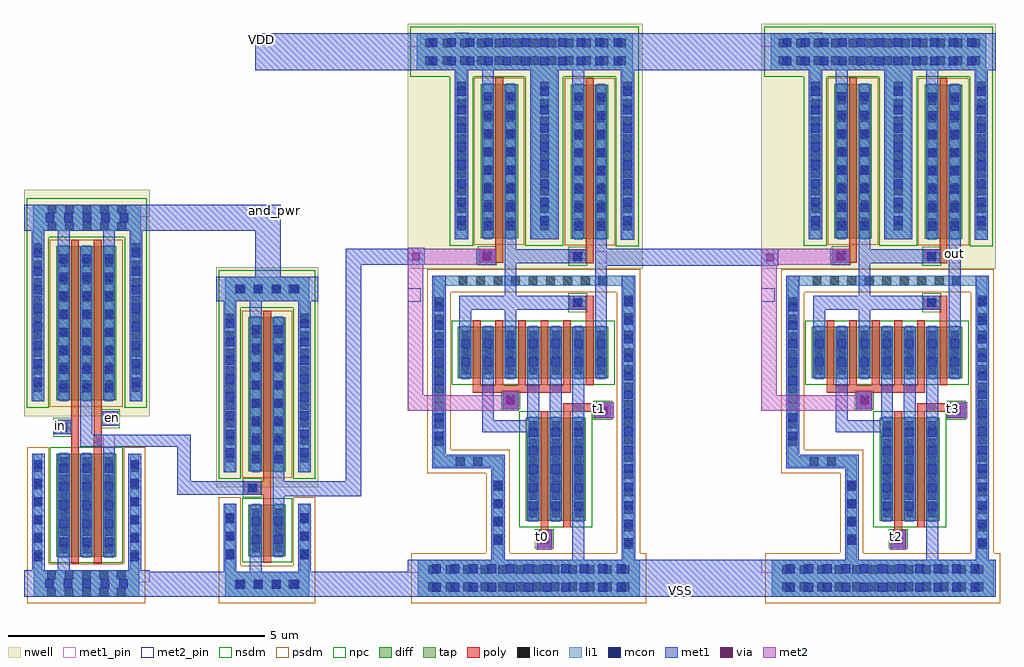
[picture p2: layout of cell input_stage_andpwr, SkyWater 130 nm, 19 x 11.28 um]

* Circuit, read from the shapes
.subckt input_stage_andpwr VDD VSS and_pwr en in out t0 t1 t2 t3
XM1 n1 in VSS VSS sky130_fd_pr__nfet_01v8 w=2 l=0.15
XM2 nand_gate_0/out en n1 VSS sky130_fd_pr__nfet_01v8 w=2 l=0.15
XM3 fine_delay_unit_3/in nand_gate_0/out VSS VSS sky130_fd_pr__nfet_01v8 w=1 l=0.15
XM4 n2 fine_delay_unit_3/in n3 VSS sky130_fd_pr__nfet_01v8 w=1 l=0.15 m=3
XM5 n4 t0 n2 VSS sky130_fd_pr__nfet_01v8 w=2 l=0.15
XM6 n4 fine_delay_unit_3/in n2 VSS sky130_fd_pr__nfet_01v8 w=1 l=0.15
XM7 VSS t1 n4 VSS sky130_fd_pr__nfet_01v8 w=2 l=0.15
XM8 VSS fine_delay_unit_3/in n4 VSS sky130_fd_pr__nfet_01v8 w=1 l=0.15
XM9 fine_delay_unit_2/in n3 VSS VSS sky130_fd_pr__nfet_01v8 w=1 l=0.15
XM10 n5 fine_delay_unit_2/in n6 VSS sky130_fd_pr__nfet_01v8 w=1 l=0.15 m=3
XM11 n7 t2 n5 VSS sky130_fd_pr__nfet_01v8 w=2 l=0.15
XM12 n7 fine_delay_unit_2/in n5 VSS sky130_fd_pr__nfet_01v8 w=1 l=0.15
XM13 VSS t3 n7 VSS sky130_fd_pr__nfet_01v8 w=2 l=0.15
XM14 VSS fine_delay_unit_2/in n7 VSS sky130_fd_pr__nfet_01v8 w=1 l=0.15
XM15 out n6 VSS VSS sky130_fd_pr__nfet_01v8 w=1 l=0.15
XM16 nand_gate_0/out in and_pwr and_pwr sky130_fd_pr__pfet_01v8 w=3 l=0.15
XM17 and_pwr en nand_gate_0/out and_pwr sky130_fd_pr__pfet_01v8 w=3 l=0.15
XM18 fine_delay_unit_3/in nand_gate_0/out and_pwr and_pwr sky130_fd_pr__pfet_01v8 w=3 l=0.15
XM19 n3 fine_delay_unit_3/in VDD VDD sky130_fd_pr__pfet_01v8 w=3 l=0.15
XM20 fine_delay_unit_2/in n3 VDD VDD sky130_fd_pr__pfet_01v8 w=3 l=0.15
XM21 n6 fine_delay_unit_2/in VDD VDD sky130_fd_pr__pfet_01v8 w=3 l=0.15
XM22 out n6 VDD VDD sky130_fd_pr__pfet_01v8 w=3 l=0.15
.ends

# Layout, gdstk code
from math import pi, radians
import gdstk
lib = gdstk.Library(unit=1e-6, precision=1e-09)
def R(c, l, rs):  # rectangles x0, y0, x1, y1
    for r in rs: c.add(gdstk.rectangle(r[:2], r[2:], *l))
def A(c, l, x, y, w, h, nx, ny, dx, dy):  # array of equal rectangles
    R(c, l, [(x+i*dx, y+j*dy, x+i*dx+w, y+j*dy+h) for i in range(nx) for j in range(ny)])
nwell = (64, 20)
diff = (65, 20)
tap = (65, 44)
poly = (66, 20)
licon = (66, 44)
li1 = (67, 20)
mcon = (67, 44)
met1_pin = (68, 16)
met1 = (68, 20)
via = (68, 44)
met2_pin = (69, 16)
met2 = (69, 20)
nsdm = (93, 44)
psdm = (94, 20)
npc = (95, 20)

sky130_fd_pr__pfet_01v8_ = lib.new_cell('sky130_fd_pr__pfet_01v8_2K9SAN')
R(sky130_fd_pr__pfet_01v8_, nwell, [(-0.545,-1.81,0.545,1.81)])
R(sky130_fd_pr__pfet_01v8_, diff, [(-0.365,-1.5,0.365,1.5)])
R(sky130_fd_pr__pfet_01v8_, poly, [(-0.075,-1.63,0.075,1.63)])
A(sky130_fd_pr__pfet_01v8_, licon, -0.305, -1.275, 0.17, 0.17, 1, 8, 0, 0.34)
A(sky130_fd_pr__pfet_01v8_, licon, 0.135, -1.275, 0.17, 0.17, 1, 8, 0, 0.34)
R(sky130_fd_pr__pfet_01v8_, li1, [(-0.305,-1.52,-0.135,1.52), (0.135,-1.52,0.305,1.52)])
A(sky130_fd_pr__pfet_01v8_, mcon, -0.305, -1.345, 0.17, 0.17, 1, 8, 0, 0.36)
A(sky130_fd_pr__pfet_01v8_, mcon, 0.135, -1.345, 0.17, 0.17, 1, 8, 0, 0.36)
R(sky130_fd_pr__pfet_01v8_, met1, [(-0.335,-1.5,-0.105,1.5), (0.105,-1.5,0.335,1.5)])
R(sky130_fd_pr__pfet_01v8_, psdm, [(-0.49,-1.625,0.49,1.625)])

sky130_fd_pr__nfet_01v8_ = lib.new_cell('sky130_fd_pr__nfet_01v8_TC9PQS')
R(sky130_fd_pr__nfet_01v8_, diff, [(-0.365,-1,0.365,1)])
R(sky130_fd_pr__nfet_01v8_, poly, [(-0.075,-1.13,0.075,1.13)])
A(sky130_fd_pr__nfet_01v8_, licon, -0.305, -0.935, 0.17, 0.17, 1, 6, 0, 0.34)
A(sky130_fd_pr__nfet_01v8_, licon, 0.135, -0.935, 0.17, 0.17, 1, 6, 0, 0.34)
R(sky130_fd_pr__nfet_01v8_, li1, [(-0.305,-1.02,-0.135,1.02), (0.135,-1.02,0.305,1.02)])
A(sky130_fd_pr__nfet_01v8_, mcon, -0.305, -0.805, 0.17, 0.17, 1, 5, 0, 0.36)
A(sky130_fd_pr__nfet_01v8_, mcon, 0.135, -0.805, 0.17, 0.17, 1, 5, 0, 0.36)
R(sky130_fd_pr__nfet_01v8_, met1, [(-0.335,-1,-0.105,1), (0.105,-1,0.335,1)])
R(sky130_fd_pr__nfet_01v8_, nsdm, [(-0.49,-1.125,0.49,1.125)])

nand_gate = lib.new_cell('nand_gate')
R(nand_gate, nwell, [(-0.47,0,0,3.51), (1.53,0,1.98,0.16), (1.23,0.16,1.98,0.29), (1.53,0.29,1.98,3.51), (-0.47,3.51,1.98,4.41)])
R(nand_gate, tap, [(-0.26,-3.51,1.79,-3), (-0.26,-3,-0.09,-0.73), (1.62,-3,1.79,-0.73), (-0.29,0.29,-0.11,3.61), (1.62,0.29,1.8,3.61), (-0.29,3.61,1.8,4.12)])
R(nand_gate, poly, [(0.47,-0.6,0.62,-0.18), (0.91,-0.6,1.06,-0.35), (0.91,-0.35,1.39,-0.07), (0.14,-0.18,0.62,0.1), (0.91,-0.07,1.06,0.18), (0.47,0.1,0.62,0.18)])
A(nand_gate, licon, 0, -3.51, 0.17, 0.17, 5, 2, 0.34, 0.34)
A(nand_gate, licon, -0.26, -2.775, 0.17, 0.17, 1, 6, 0, 0.34)
A(nand_gate, licon, 1.62, -2.775, 0.17, 0.17, 1, 6, 0, 0.34)
A(nand_gate, licon, -0.285, 0.48, 0.17, 0.17, 1, 9, 0, 0.34)
A(nand_gate, licon, 1.625, 0.48, 0.17, 0.17, 1, 9, 0, 0.34)
A(nand_gate, licon, -0.01, 3.61, 0.17, 0.17, 5, 2, 0.34, 0.34)
R(nand_gate, licon, [(1.14,-0.3,1.31,-0.13), (0.22,-0.13,0.39,0.04)])
R(nand_gate, li1, [(-0.26,-3.51,1.79,-3), (-0.26,-3,-0.09,-0.73), (1.62,-3,1.79,-0.73), (1.06,-0.35,1.39,-0.07), (0.14,-0.18,0.47,0.1), (-0.29,0.29,-0.11,3.61), (1.62,0.29,1.8,3.61), (-0.29,3.61,1.8,4.12)])
A(nand_gate, mcon, -0.04, -3.34, 0.17, 0.17, 5, 1, 0.36, 0)
A(nand_gate, mcon, -0.26, -2.825, 0.17, 0.17, 1, 6, 0, 0.36)
A(nand_gate, mcon, 1.62, -2.825, 0.17, 0.17, 1, 6, 0, 0.36)
A(nand_gate, mcon, -0.285, 0.58, 0.17, 0.17, 1, 8, 0, 0.36)
A(nand_gate, mcon, 1.625, 0.58, 0.17, 0.17, 1, 8, 0, 0.36)
A(nand_gate, mcon, -0.05, 3.78, 0.17, 0.17, 5, 1, 0.36, 0)
R(nand_gate, mcon, [(1.14,-0.3,1.31,-0.13), (0.22,-0.13,0.39,0.04)])
R(nand_gate, met1_pin, [(-0.47,-3.23,-0.24,-3), (0.21,-0.59,0.44,-0.36), (1.16,-0.3,1.39,-0.07), (0.14,-0.13,0.37,0.1), (-0.47,3.89,-0.24,4.12)])
R(nand_gate, met1, [(-0.47,-3.51,1.98,-3), (-0.3,-3,-0.05,-0.73), (1.09,-3,1.32,-2.73), (1.58,-3,1.82,-0.73), (0.21,-0.73,0.44,-0.59), (0.21,-0.59,0.88,-0.36), (0.65,-0.36,0.88,0.31), (1.06,-0.35,1.39,-0.07), (0.14,-0.18,0.47,0.1), (-0.32,0.29,-0.08,3.61), (1.59,0.29,1.83,3.61), (0.21,3.31,0.44,3.61), (1.09,3.31,1.32,3.61), (-0.47,3.61,1.98,4.12)])
R(nand_gate, nsdm, [(-0.415,0.165,0.015,3.485), (1.495,0.165,1.925,3.485), (-0.415,3.485,1.925,4.245)])
R(nand_gate, psdm, [(-0.385,-3.635,1.915,-2.875), (-0.385,-2.875,0.035,-0.605), (1.495,-2.875,1.915,-0.605)])
R(nand_gate, npc, [(1.04,-0.4,1.41,-0.03), (0.12,-0.23,0.49,0.14)])
nand_gate.add(gdstk.Reference(sky130_fd_pr__pfet_01v8_, (0.985,1.81)))
nand_gate.add(gdstk.Reference(sky130_fd_pr__pfet_01v8_, (0.545,1.81)))
nand_gate.add(gdstk.Reference(sky130_fd_pr__nfet_01v8_, (0.985,-1.73)))
nand_gate.add(gdstk.Reference(sky130_fd_pr__nfet_01v8_, (0.545,-1.73)))
nand_gate.add(gdstk.Label('a', (0.255,-0.015), layer=68, texttype=5))
nand_gate.add(gdstk.Label('b', (1.275,-0.185), layer=68, texttype=5))
nand_gate.add(gdstk.Label('out', (0.325,-0.475), layer=68, texttype=5))
nand_gate.add(gdstk.Label('VDD', (-0.355,4.005), layer=68, texttype=5))
nand_gate.add(gdstk.Label('VSS', (-0.355,-3.115), layer=68, texttype=5))

c_sky130_fd_pr__nfet_01v8_ = lib.new_cell('sky130_fd_pr__nfet_01v8_6H9P4D')
R(c_sky130_fd_pr__nfet_01v8_, diff, [(-0.365,-0.5,0.365,0.5)])
R(c_sky130_fd_pr__nfet_01v8_, poly, [(-0.075,-0.63,0.075,0.63)])
A(c_sky130_fd_pr__nfet_01v8_, licon, -0.305, -0.425, 0.17, 0.17, 1, 3, 0, 0.34)
A(c_sky130_fd_pr__nfet_01v8_, licon, 0.135, -0.425, 0.17, 0.17, 1, 3, 0, 0.34)
R(c_sky130_fd_pr__nfet_01v8_, li1, [(-0.305,-0.52,-0.135,0.52), (0.135,-0.52,0.305,0.52)])
R(c_sky130_fd_pr__nfet_01v8_, mcon, [(-0.305,-0.265,-0.135,-0.095), (0.135,-0.265,0.305,-0.095), (-0.305,0.095,-0.135,0.265), (0.135,0.095,0.305,0.265)])
R(c_sky130_fd_pr__nfet_01v8_, met1, [(-0.335,-0.5,-0.105,0.5), (0.105,-0.5,0.335,0.5)])
R(c_sky130_fd_pr__nfet_01v8_, nsdm, [(-0.49,-0.625,0.49,0.625)])

inverter_3_1 = lib.new_cell('inverter_3_1')
R(inverter_3_1, nwell, [(0.15,1.15,0.6,4.77), (1.69,1.15,2.14,1.44), (1.64,1.44,2.14,4.48), (1.69,4.48,2.14,4.77), (0.15,4.77,2.14,5.43)])
R(inverter_3_1, tap, [(0.33,-0.98,1.96,-0.5), (0.33,-0.5,0.51,0.83), (1.78,-0.5,1.96,0.83), (0.33,1.44,0.51,4.77), (1.78,1.44,1.96,4.77), (0.33,4.77,1.96,5.25)])
R(inverter_3_1, poly, [(1.07,0.94,1.22,1), (0.68,1,1.22,1.27), (1.07,1.27,1.22,1.33)])
A(inverter_3_1, licon, 0.55, -0.825, 0.17, 0.17, 4, 2, 0.34, 5.75)
A(inverter_3_1, licon, 0.335, -0.23, 0.17, 0.17, 1, 3, 0, 0.34)
A(inverter_3_1, licon, 1.785, -0.23, 0.17, 0.17, 1, 3, 0, 0.34)
A(inverter_3_1, licon, 0.335, 1.635, 0.17, 0.17, 1, 9, 0, 0.34)
A(inverter_3_1, licon, 1.785, 1.635, 0.17, 0.17, 1, 9, 0, 0.34)
R(inverter_3_1, licon, [(0.77,1.05,0.94,1.22)])
R(inverter_3_1, li1, [(0.33,-0.98,1.96,-0.5), (0.33,-0.5,0.51,0.83), (1.78,-0.5,1.96,0.83), (0.68,1,1.03,1.27), (0.33,1.44,0.51,4.77), (1.78,1.44,1.96,4.77), (0.33,4.77,1.96,5.25)])
A(inverter_3_1, mcon, 0.52, -0.825, 0.17, 0.17, 4, 2, 0.36, 5.75)
A(inverter_3_1, mcon, 0.335, -0.25, 0.17, 0.17, 1, 3, 0, 0.36)
A(inverter_3_1, mcon, 1.785, -0.25, 0.17, 0.17, 1, 3, 0, 0.36)
A(inverter_3_1, mcon, 0.335, 1.735, 0.17, 0.17, 1, 8, 0, 0.36)
A(inverter_3_1, mcon, 1.785, 1.735, 0.17, 0.17, 1, 8, 0, 0.36)
R(inverter_3_1, mcon, [(0.77,1.05,0.94,1.22)])
R(inverter_3_1, met1, [(0.15,-0.98,2.14,-0.5), (0.3,-0.5,0.54,0.83), (0.81,-0.5,1.04,-0.19), (1.75,-0.5,1.99,0.83), (1.25,0.81,1.48,1.46), (0.68,1,1.03,1.27), (0.3,1.44,0.54,4.77), (1.75,1.44,1.99,4.77), (0.81,4.46,1.04,4.77), (0.15,4.77,2.14,5.25)])
R(inverter_3_1, nsdm, [(0.205,1.315,0.635,4.645), (1.655,1.315,2.085,4.645), (0.205,4.645,2.085,5.375)])
R(inverter_3_1, psdm, [(0.205,-1.105,2.085,-0.375), (0.205,-0.375,0.635,0.955), (1.655,-0.375,2.085,0.955)])
R(inverter_3_1, npc, [(0.67,0.95,1.04,1.32)])
inverter_3_1.add(gdstk.Reference(sky130_fd_pr__pfet_01v8_, (1.145,2.96)))
inverter_3_1.add(gdstk.Reference(c_sky130_fd_pr__nfet_01v8_, (1.145,0.31)))

fine_delay_unit = lib.new_cell('fine_delay_unit')
R(fine_delay_unit, nwell, [(1.74,4.3,6.3,9.07)])
R(fine_delay_unit, tap, [(1.94,-2.08,6.26,-1.36), (3.4,-1.36,3.6,0.45), (5.94,-1.36,6.14,3.97), (2.25,0.45,3.6,0.65), (2.25,0.65,2.45,3.97), (2.25,3.97,6.14,4.17), (5.92,4.87,6.12,8.17), (2.69,4.88,2.89,8.17), (4.16,4.88,4.65,8.17), (1.92,8.17,6.12,8.89)])
R(fine_delay_unit, poly, [(4.27,-1.12,4.54,-0.79), (4.33,-0.79,4.48,-0.73), (5.37,1.41,5.7,1.53), (4.77,1.53,5.7,1.68), (3.61,1.59,3.88,1.89), (3.01,1.89,4.92,2.04), (5.21,3.3,5.36,3.51), (4.89,3.51,5.36,3.78), (4.89,4.41,5.36,4.68), (3.13,4.42,3.6,4.69), (5.21,4.68,5.36,4.76), (3.45,4.69,3.6,4.77)])
A(fine_delay_unit, licon, 2.145, -1.975, 0.17, 0.17, 12, 2, 0.34, 0.34)
A(fine_delay_unit, licon, 5.955, -1.15, 0.17, 0.17, 1, 15, 0, 0.34)
A(fine_delay_unit, licon, 3.415, -1.04, 0.17, 0.17, 1, 4, 0, 0.34)
A(fine_delay_unit, licon, 2.265, 0.86, 0.17, 0.17, 1, 9, 0, 0.34)
A(fine_delay_unit, licon, 2.735, 3.985, 0.17, 0.17, 9, 1, 0.34, 0)
A(fine_delay_unit, licon, 2.705, 5.055, 0.17, 0.17, 3, 9, 1.615, 0.34)
A(fine_delay_unit, licon, 2.08, 8.275, 0.17, 0.17, 12, 2, 0.34, 0.34)
R(fine_delay_unit, licon, [(4.32,-1.04,4.49,-0.87), (2.68,0.465,2.85,0.635), (3.02,0.465,3.19,0.635), (5.45,1.46,5.62,1.63), (3.66,1.67,3.83,1.84), (4.97,3.56,5.14,3.73), (4.97,4.46,5.14,4.63), (3.21,4.47,3.38,4.64)])
R(fine_delay_unit, li1, [(1.94,-2.08,6.26,-1.36), (3.4,-1.36,3.6,0.45), (5.94,-1.36,6.14,3.97), (4.27,-1.12,4.54,-0.79), (2.25,0.45,3.6,0.65), (2.25,0.65,2.45,3.97), (5.37,1.41,5.7,1.68), (3.61,1.59,3.88,1.92), (4.89,3.51,5.22,3.78), (2.25,3.97,6.14,4.17), (4.89,4.41,5.22,4.68), (3.13,4.42,3.46,4.69), (5.92,4.87,6.12,8.17), (2.69,4.88,2.89,8.17), (4.16,4.88,4.65,8.17), (1.92,8.17,6.12,8.89)])
A(fine_delay_unit, mcon, 2.215, -1.985, 0.17, 0.17, 11, 2, 0.36, 0.36)
A(fine_delay_unit, mcon, 5.955, -1.11, 0.17, 0.17, 1, 14, 0, 0.36)
A(fine_delay_unit, mcon, 3.415, -1.07, 0.17, 0.17, 1, 4, 0, 0.36)
A(fine_delay_unit, mcon, 2.265, 0.96, 0.17, 0.17, 1, 8, 0, 0.36)
A(fine_delay_unit, mcon, 2.705, 5.155, 0.17, 0.17, 3, 8, 1.615, 0.36)
A(fine_delay_unit, mcon, 2.15, 8.265, 0.17, 0.17, 11, 2, 0.36, 0.36)
R(fine_delay_unit, mcon, [(4.32,-1.04,4.49,-0.87), (5.45,1.46,5.62,1.63), (3.66,1.67,3.83,1.84), (4.97,3.56,5.14,3.73), (4.97,4.46,5.14,4.63), (3.21,4.47,3.38,4.64)])
R(fine_delay_unit, met1_pin, [(1.74,-1.62,2,-1.36), (5.39,4.41,5.62,4.64), (1.74,8.63,2,8.89)])
A(fine_delay_unit, met1, 4.07, 1.4, 0.23, 0.77, 3, 1, 0.44, 0)
R(fine_delay_unit, met1, [(1.74,-2.08,6.3,-1.36), (3.37,-1.36,3.63,0.42), (4.95,-1.36,5.18,-0.6), (5.91,-1.36,6.17,4.17), (4.25,-1.17,4.56,-0.79), (2.22,0.42,3.63,0.68), (2.22,0.68,2.48,4.17), (3.19,1.12,4.07,1.35), (3.19,1.35,3.42,2.17), (5.37,1.39,5.75,1.7), (3.59,1.54,3.9,1.92), (2.75,3.17,2.98,3.51), (3.63,3.17,3.86,3.51), (5.39,3.17,5.62,4.89), (2.75,3.51,5.22,3.78), (3.63,3.78,3.86,4.41), (3.08,4.38,3.46,4.69), (3.63,4.41,5.22,4.68), (3.63,4.68,3.86,4.9), (5.89,4.87,6.15,8.17), (2.66,4.88,2.92,8.17), (4.13,4.88,4.68,8.17), (4.95,7.89,5.18,8.17), (3.19,7.9,3.42,8.17), (1.74,8.17,6.3,8.89), (2.66,8.89,2.92,8.9)])
R(fine_delay_unit, via, [(4.33,-1.055,4.48,-0.905), (5.485,1.47,5.635,1.62), (3.67,1.655,3.82,1.805), (3.195,4.46,3.345,4.61)])
R(fine_delay_unit, met2_pin, [(4.25,-1.05,4.51,-0.79), (5.37,1.44,5.63,1.7), (1.74,3.66,2,3.92)])
R(fine_delay_unit, met2, [(4.25,-1.17,4.56,-0.79), (5.37,1.39,5.75,1.7), (1.74,1.54,3.9,1.84), (1.74,1.84,2.04,4.38), (3.59,1.84,3.9,1.92), (1.74,4.38,3.46,4.69)])
R(fine_delay_unit, nsdm, [(5.795,4.745,6.245,8.045), (2.565,4.755,3.015,8.045), (4.035,4.755,4.775,8.045), (1.795,8.045,6.245,9.015)])
R(fine_delay_unit, psdm, [(1.815,-2.205,6.385,-1.235), (3.275,-1.235,3.725,0.325), (5.815,-1.235,6.265,3.845), (2.125,0.325,3.725,0.775), (2.125,0.775,2.575,3.845), (2.125,3.845,6.265,4.295)])
R(fine_delay_unit, npc, [(4.22,-1.14,4.59,-0.77), (5.35,1.36,5.72,1.73), (3.56,1.57,3.93,1.94), (4.87,3.46,5.24,3.83), (4.87,4.36,5.24,4.73), (3.11,4.37,3.48,4.74)])
fine_delay_unit.add(gdstk.Reference(sky130_fd_pr__pfet_01v8_, (5.285,6.39)))
fine_delay_unit.add(gdstk.Reference(sky130_fd_pr__pfet_01v8_, (3.525,6.4)))
fine_delay_unit.add(gdstk.Reference(sky130_fd_pr__nfet_01v8_, (4.845,0.4)))
fine_delay_unit.add(gdstk.Reference(sky130_fd_pr__nfet_01v8_, (4.405,0.4)))
fine_delay_unit.add(gdstk.Reference(c_sky130_fd_pr__nfet_01v8_, (5.285,2.67)))
fine_delay_unit.add(gdstk.Reference(c_sky130_fd_pr__nfet_01v8_, (4.845,2.67)))
fine_delay_unit.add(gdstk.Reference(c_sky130_fd_pr__nfet_01v8_, (4.405,2.67)))
fine_delay_unit.add(gdstk.Reference(c_sky130_fd_pr__nfet_01v8_, (3.965,2.67)))
fine_delay_unit.add(gdstk.Reference(c_sky130_fd_pr__nfet_01v8_, (3.525,2.67)))
fine_delay_unit.add(gdstk.Reference(c_sky130_fd_pr__nfet_01v8_, (3.085,2.67)))
fine_delay_unit.add(gdstk.Label('in', (1.87,3.79), layer=69, texttype=5))
fine_delay_unit.add(gdstk.Label('t0', (4.38,-0.92), layer=69, texttype=5))
fine_delay_unit.add(gdstk.Label('t1', (5.5,1.57), layer=69, texttype=5))
fine_delay_unit.add(gdstk.Label('out', (5.505,4.525), layer=68, texttype=5))
fine_delay_unit.add(gdstk.Label('VDD', (1.87,8.76), layer=68, texttype=5))
fine_delay_unit.add(gdstk.Label('VSS', (1.87,-1.49), layer=68, texttype=5))

input_stage_andpwr = lib.new_cell('input_stage_andpwr')
R(input_stage_andpwr, nwell, [(12.48,7.98,12.51,12.75)])
R(input_stage_andpwr, met1_pin, [(13.13,1.6,13.36,1.83), (1.05,4.81,1.28,5.04), (2.07,4.98,2.3,5.21), (18.47,8.16,18.7,8.39), (5.23,9,5.46,9.23), (4.96,12.34,5.19,12.57)])
R(input_stage_andpwr, met1, [(2.91,1.6,4.2,2.08), (6.19,1.6,7.93,2.08), (12.49,1.6,14.82,2.32), (5.53,3.55,7.03,3.85), (3.44,3.58,4.73,3.85), (3.44,3.85,3.71,4.52), (6.73,3.85,7.03,8.06), (2.23,4.52,3.71,4.75), (1.05,4.81,1.28,5.04), (2.07,4.98,2.3,5.21), (4.96,7.83,5.46,8.72), (11.81,8.04,15.15,8.37), (6.73,8.06,8.26,8.37), (18.47,8.16,18.7,8.39), (7.93,8.37,8.26,8.39), (2.91,8.72,5.46,9.23), (4.96,11.85,7.93,12.57), (12.49,11.85,14.82,12.57)])
R(input_stage_andpwr, via, [(14.91,8.13,15.06,8.28), (8.02,8.15,8.17,8.3)])
R(input_stage_andpwr, met2_pin, [(10.44,2.66,10.67,2.89), (17.33,2.66,17.56,2.89), (11.56,5.15,11.79,5.38), (18.45,5.15,18.68,5.38)])
R(input_stage_andpwr, met2, [(10.44,2.66,10.67,2.89), (17.33,2.66,17.56,2.89), (11.56,5.15,11.79,5.38), (18.45,5.15,18.68,5.38), (14.82,8.04,15.15,8.37), (7.93,8.06,8.26,8.39)])
input_stage_andpwr.add(gdstk.Reference(nand_gate, (2.44,5.11), rotation=pi, x_reflection=True))
input_stage_andpwr.add(gdstk.Reference(inverter_3_1, (4.05,2.58)))
input_stage_andpwr.add(gdstk.Reference(fine_delay_unit, (13.08,3.68)))
input_stage_andpwr.add(gdstk.Reference(fine_delay_unit, (6.19,3.68)))
input_stage_andpwr.add(gdstk.Label('in', (1.165,4.925), layer=68, texttype=5))
input_stage_andpwr.add(gdstk.Label('en', (2.185,5.095), layer=68, texttype=5))
input_stage_andpwr.add(gdstk.Label('t0', (10.555,2.775), layer=69, texttype=5))
input_stage_andpwr.add(gdstk.Label('t1', (11.675,5.265), layer=69, texttype=5))
input_stage_andpwr.add(gdstk.Label('t2', (17.445,2.775), layer=69, texttype=5))
input_stage_andpwr.add(gdstk.Label('t3', (18.565,5.265), layer=69, texttype=5))
input_stage_andpwr.add(gdstk.Label('and_pwr', (5.345,9.115), layer=68, texttype=5))
input_stage_andpwr.add(gdstk.Label('out', (18.585,8.275), layer=68, texttype=5))
input_stage_andpwr.add(gdstk.Label('VDD', (5.075,12.455), layer=68, texttype=5))
input_stage_andpwr.add(gdstk.Label('VSS', (13.245,1.715), layer=68, texttype=5))

lib.write_gds('input_stage_andpwr.gds')
